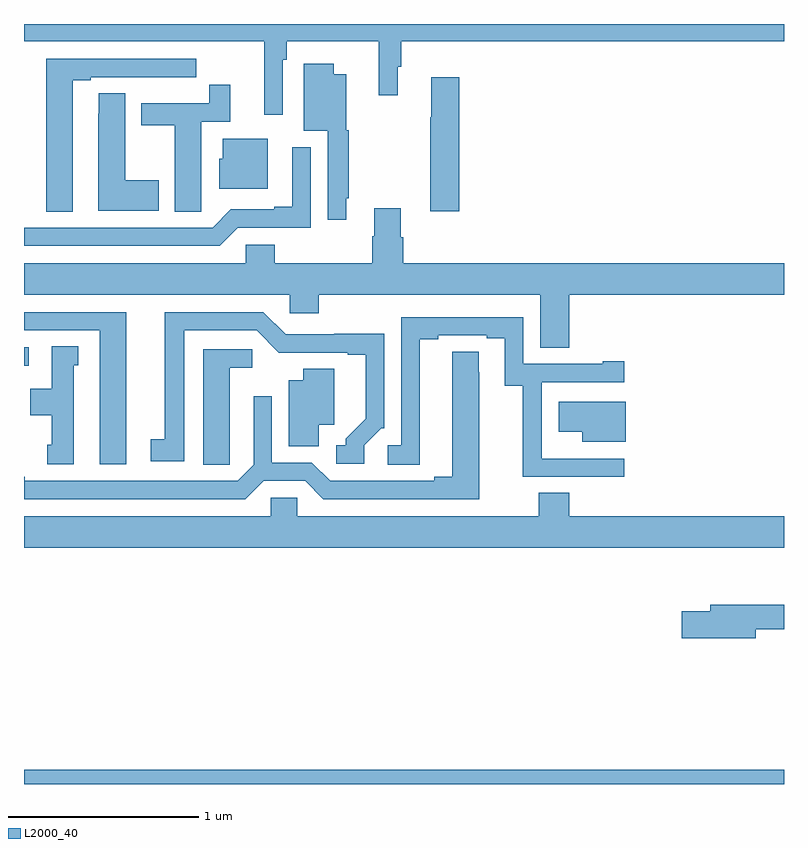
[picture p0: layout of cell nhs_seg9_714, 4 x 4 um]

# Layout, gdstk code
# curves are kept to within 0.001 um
import gdstk
lib = gdstk.Library(unit=1e-6, precision=1e-09)
def R(c, l, rs):  # rectangles x0, y0, x1, y1
    for r in rs: c.add(gdstk.rectangle(r[:2], r[2:], *l))
def P(c, l, *ps):  # polygons
    for p in ps: c.add(gdstk.Polygon(p, *l))
L2000_40 = (2000, 40)

nhs_seg9_714 = lib.new_cell('nhs_seg9_714')
R(nhs_seg9_714, L2000_40, [(147,1204.5,151,1204.576), (147,1206.702,147.025,1206.798)])
P(nhs_seg9_714, L2000_40, [(148.362,1208.312),(148.382,1208.312),(148.382,1208.408),(148.867,1208.408),(148.867,1208.124),(148.966,1208.124),(148.966,1208.274),(148.985,1208.274),(148.985,1208.408),(151,1208.408),(151,1208.5),(147,1208.5),(147,1208.408),(148.265,1208.408),(148.265,1208.022),(148.362,1208.022)],
  [(147.256,1208.205),(147.352,1208.205),(147.352,1208.22),(147.628,1208.22),(147.628,1208.219),(147.794,1208.219),(147.794,1208.22),(147.907,1208.22),(147.907,1208.316),(147.116,1208.316),(147.116,1207.513),(147.256,1207.513)],
  [(148.696,1207.582),(148.708,1207.582),(148.708,1207.941),(148.696,1207.941),(148.696,1208.236),(148.63,1208.236),(148.63,1208.29),(148.472,1208.29),(148.472,1207.937),(148.599,1207.937),(148.599,1207.47),(148.696,1207.47)],
  [(149.291,1208.221),(149.144,1208.221),(149.144,1208.008),(149.137,1208.008),(149.137,1207.515),(149.291,1207.515)],
  [(147.933,1207.624),(147.934,1207.624),(147.934,1207.986),(148.085,1207.986),(148.085,1208.179),(147.976,1208.179),(147.976,1208.082),(147.617,1208.082),(147.617,1207.966),(147.794,1207.966),(147.794,1207.513),(147.933,1207.513)],
  [(147.709,1207.677),(147.532,1207.677),(147.532,1208.135),(147.393,1208.135),(147.393,1208.027),(147.392,1208.027),(147.392,1207.517),(147.709,1207.517)],
  [(148.282,1207.897),(148.046,1207.897),(148.046,1207.791),(148.028,1207.791),(148.028,1207.634),(148.282,1207.634)],
  [(148.125,1207.428),(148.509,1207.428),(148.509,1207.852),(148.412,1207.852),(148.412,1207.537),(148.316,1207.537),(148.316,1207.524),(148.089,1207.524),(147.993,1207.428),(147,1207.428),(147,1207.332),(148.029,1207.332)],
  [(148.984,1207.377),(148.984,1207.531),(148.844,1207.531),(148.844,1207.382),(148.832,1207.382),(148.832,1207.24),(148.319,1207.24),(148.319,1207.338),(148.167,1207.338),(148.167,1207.24),(147,1207.24),(147,1207.076),(148.398,1207.076),(148.398,1206.978),(148.55,1206.978),(148.55,1207.076),(149.717,1207.076),(149.717,1206.796),(149.87,1206.796),(149.87,1207.076),(151,1207.076),(151,1207.24),(148.997,1207.24),(148.997,1207.377)],
  [(148.791,1206.282),(148.881,1206.372),(148.896,1206.372),(148.896,1206.869),(148.633,1206.869),(148.633,1206.867),(148.377,1206.867),(148.26,1206.984),(147.74,1206.984),(147.74,1206.314),(147.666,1206.314),(147.666,1206.198),(147.844,1206.198),(147.844,1206.888),(148.224,1206.888),(148.342,1206.77),(148.703,1206.771),(148.703,1206.759),(148.799,1206.759),(148.799,1206.422),(148.694,1206.317),(148.694,1206.282),(148.644,1206.282),(148.644,1206.186),(148.791,1206.186)],
  [(147.538,1206.984),(147,1206.984),(147,1206.888),(147.398,1206.888),(147.398,1206.183),(147.538,1206.183)],
  [(150.16,1206.213),(149.726,1206.213),(149.726,1206.214),(149.724,1206.214),(149.724,1206.615),(150.16,1206.615),(150.16,1206.724),(150.047,1206.724),(150.047,1206.711),(149.628,1206.711),(149.628,1206.957),(148.986,1206.957),(148.986,1206.282),(148.914,1206.282),(148.914,1206.181),(149.083,1206.181),(149.083,1206.841),(149.179,1206.841),(149.179,1206.861),(149.435,1206.861),(149.435,1206.846),(149.531,1206.846),(149.531,1206.595),(149.626,1206.595),(149.626,1206.117),(150.16,1206.117)],
  [(147.262,1206.705),(147.286,1206.705),(147.286,1206.803),(147.146,1206.803),(147.146,1206.58),(147.032,1206.58),(147.032,1206.44),(147.146,1206.44),(147.146,1206.285),(147.122,1206.285),(147.122,1206.183),(147.262,1206.183)],
  [(148.083,1206.289),(148.084,1206.289),(148.084,1206.692),(148.201,1206.692),(148.201,1206.789),(147.944,1206.789),(147.944,1206.181),(148.083,1206.181)],
  [(148.261,1206.096),(148.479,1206.096),(148.575,1206),(149.395,1206),(149.394,1206.776),(149.255,1206.776),(149.255,1206.116),(149.159,1206.116),(149.159,1206.096),(148.611,1206.096),(148.515,1206.192),(148.305,1206.192),(148.305,1206.541),(148.209,1206.541),(148.209,1206.18),(148.125,1206.096),(147.004,1206.096),(147.004,1206.116),(147,1206.116),(147,1206),(148.165,1206)],
  [(148.552,1206.392),(148.633,1206.392),(148.633,1206.686),(148.469,1206.686),(148.469,1206.625),(148.394,1206.625),(148.394,1206.277),(148.552,1206.277)],
  [(150.166,1206.511),(149.814,1206.511),(149.814,1206.353),(149.939,1206.353),(149.939,1206.302),(150.166,1206.302)],
  [(151,1205.908),(149.87,1205.908),(149.87,1206.032),(149.71,1206.032),(149.71,1205.908),(148.437,1205.908),(148.437,1206.006),(148.299,1206.006),(148.299,1205.908),(147,1205.908),(147,1205.744),(151,1205.744)],
  [(150.85,1205.314),(151,1205.314),(151,1205.443),(150.611,1205.443),(150.611,1205.409),(150.462,1205.409),(150.462,1205.267),(150.85,1205.267)])

lib.write_gds('nhs_seg9_714.gds')
